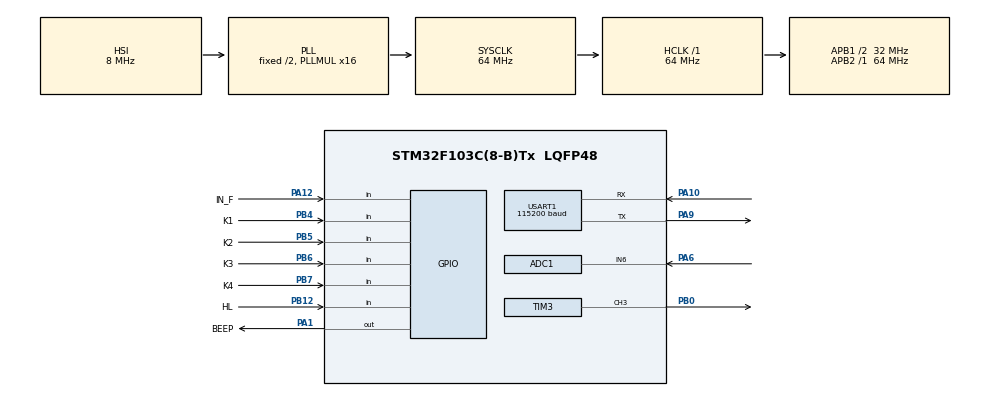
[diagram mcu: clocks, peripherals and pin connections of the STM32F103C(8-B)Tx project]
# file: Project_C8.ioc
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ADC1.Channel-0\#ChannelRegularConversion=ADC_CHANNEL_6
ADC1.NbrOfConversionFlag=1
ADC1.Rank-0\#ChannelRegularConversion=1
ADC1.SamplingTime-0\#ChannelRegularConversion=ADC_SAMPLETIME_239CYCLES_5
ADC1.master=1
Mcu.Family=STM32F1
Mcu.Name=STM32F103C(8-B)Tx
Mcu.Package=LQFP48
NVIC.PriorityGroup=NVIC_PRIORITYGROUP_4
NVIC.TIM1_UP_IRQn=true\:0\:0\:false\:false\:true\:true\:true\:true
NVIC.USART1_IRQn=true\:0\:0\:false\:false\:true\:true\:true\:true
PA1.GPIO_Label=BEEP
PA1.Signal=GPIO_Output
PA10.Mode=Asynchronous
PA10.Signal=USART1_RX
PA12.GPIO_Label=IN_F
PA12.GPIO_PuPd=GPIO_PULLUP
PA12.Signal=GPIO_Input
PA13.Mode=Serial_Wire
PA13.Signal=SYS_JTMS-SWDIO
PA14.Mode=Serial_Wire
PA14.Signal=SYS_JTCK-SWCLK
PA6.Signal=ADCx_IN6
PA9.Mode=Asynchronous
PA9.Signal=USART1_TX
PB0.Signal=S_TIM3_CH3
PB12.GPIO_Label=HL
PB12.Signal=GPIO_Input
PB4.GPIO_Label=K1
PB4.GPIO_PuPd=GPIO_PULLUP
PB4.Signal=GPIO_Input
PB5.GPIO_Label=K2
PB5.GPIO_PuPd=GPIO_PULLUP
PB5.Signal=GPIO_Input
PB6.GPIO_Label=K3
PB6.GPIO_PuPd=GPIO_PULLUP
PB6.Signal=GPIO_Input
PB7.GPIO_Label=K4
PB7.GPIO_PuPd=GPIO_PULLUP
PB7.Signal=GPIO_Input
ProjectManager.HeapSize=0x200
ProjectManager.StackSize=0x400
ProjectManager.TargetToolchain=MDK-ARM V5.27
RCC.ADCPresc=RCC_ADCPCLK2_DIV6
RCC.AHBFreq_Value=64000000
RCC.APB1CLKDivider=RCC_HCLK_DIV2
RCC.APB1Freq_Value=32000000
RCC.APB1TimFreq_Value=64000000
RCC.APB2Freq_Value=64000000
RCC.APB2TimFreq_Value=64000000
RCC.FLatency=FLASH_LATENCY_2
RCC.HCLKFreq_Value=64000000
RCC.PLLMUL=RCC_PLL_MUL16
RCC.SYSCLKFreq_VALUE=64000000
RCC.SYSCLKSource=RCC_SYSCLKSOURCE_PLLCLK
RCC.USBFreq_Value=64000000
SH.ADCx_IN6.0=ADC1_IN6,IN6
SH.S_TIM3_CH3.0=TIM3_CH3,PWM Generation3 CH3
TIM1.AutoReloadPreload=TIM_AUTORELOAD_PRELOAD_DISABLE
TIM1.ClockDivision=TIM_CLOCKDIVISION_DIV1
TIM1.CounterMode=TIM_COUNTERMODE_UP
TIM1.Period=999
TIM1.Prescaler=63
TIM1.RepetitionCounter=0
TIM1.TIM_MasterOutputTrigger=TIM_TRGO_RESET
TIM1.TIM_MasterSlaveMode=TIM_MASTERSLAVEMODE_DISABLE
TIM3.Channel-PWM\ Generation3\ CH3=TIM_CHANNEL_3
TIM3.Period=19999
TIM3.Prescaler=63
USART1.BaudRate=115200
USART1.Mode=MODE_TX_RX
USART1.Parity=PARITY_NONE
USART1.StopBits=STOPBITS_1
USART1.VirtualMode=VM_ASYNC
USART1.WordLength=WORDLENGTH_8B
VP_TIM1_VS_ClockSourceINT.Mode=Internal
VP_TIM3_VS_ClockSourceINT.Mode=Internal
board=custom

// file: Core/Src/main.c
/* USER CODE BEGIN Header */
/**
  ******************************************************************************
  * @file           : main.c
  * @brief          : Main program body
  ******************************************************************************
  * @attention
  *
  * Copyright (c) 2022 STMicroelectronics.
  * All rights reserved.
  *
  * This software is licensed under terms that can be found in the LICENSE file
  * in the root directory of this software component.
  * If no LICENSE file comes with this software, it is provided AS-IS.
  *
  ******************************************************************************
  */
/* USER CODE END Header */
#include "main.h"
#include "adc.h"
#include "tim.h"
#include "usart.h"
#include "gpio.h"

/* USER CODE BEGIN Includes */
#include "./HAL/key/key.h"
#include "./HAL/OLED/OLED_NEW.H"
#include "./HAL/ds18b20/ds18b20.h"
#include "./HAL/delay/delay.h"
#include "./HAL/Air724/Air724.h"

/* USER CODE END Includes */

/* USER CODE BEGIN PTD */
void Key_function(void);								//按键函数
void Monitor_function(void);						//监测函数
void Display_function(void);						//显示函数
void Manage_function(void);							//处理函数
/* USER CODE END PTD */

/* USER CODE BEGIN PD */

#define BEEP(a) (a?HAL_GPIO_WritePin(BEEP_GPIO_Port, BEEP_Pin, GPIO_PIN_SET):HAL_GPIO_WritePin(BEEP_GPIO_Port, BEEP_Pin, GPIO_PIN_RESET))

#define RELAY(a) (a?HAL_GPIO_WritePin(RELAY_GPIO_Port, RELAY_Pin, GPIO_PIN_SET):HAL_GPIO_WritePin(RELAY_GPIO_Port, RELAY_Pin, GPIO_PIN_RESET))

uint8_t USART1_TX_BUF[200];
#define u1_printf(...)  HAL_UART_Transmit(&huart1,USART1_TX_BUF,sprintf((char *)USART1_TX_BUF,__VA_ARGS__),0xffff)

/* USER CODE END PD */

/* USER CODE BEGIN PV */
uint8_t key_num,flag_display;         //按键与显示变量
uint16_t time_1ms,time_500ms;         //计时变量1ms,500ms
uint16_t time_ms,time_1000ms;         //计时变量1ms,1000ms

//串口1的数据获取
uint8_t uart1_value;      //串口传的单个数据
//串口的储存数组，串口的接收时间，串口存值的数量
uint8_t uart1_buf[36],uart1_time,uart1_num;
uint8_t uart1_rx_flag;//串口的获取值的标志位

uint16_t temp;																						                //温度
uint8_t display_buf[20];                                                  //显示温度数组
uint16_t temp_init;                                                       //温度中间变量
uint8_t door_flag;                                                        //车门状态标志位
uint8_t window_flag;                                                      //车窗状态标志位
uint8_t people_flag;                                                      //车内状态标志位
uint16_t adc_value,light_value;
uint16_t SG90_1=500;                                                      //舵机角度控制变量（500-2500 0-180°）
uint8_t alarm;
uint8_t temp_yu=35,CO2_yu=50;
/* USER CODE END PV */

void SystemClock_Config(void);

/* USER CODE BEGIN 0 */

/****
*******按键设置函数
*****/
void Key_function(void)
{
	key_num = Chiclet_Keyboard_Scan();	//按键扫描
	if(key_num != 0)										//有按键按下
	{
		switch(key_num)
		{
			case 1:													//按键1，切换模式
			flag_display++;
			if(flag_display>=3)
				flag_display=0;
			OLED_Clear();									//按一下，清屏一次
			break;

			case 2:													//按键2
			if(flag_display==1)
			{
				if(temp_yu<99)
					temp_yu++;
			}
			if(flag_display==2)
			{
				if(CO2_yu<99)
					CO2_yu++;
			}
			break;

			case 3:													//按键3
			if(flag_display==0)
				window_flag=1;
			if(flag_display==1)
			{
				if(temp_yu>1)
					temp_yu--;
			}
			if(flag_display==2)
			{
				if(CO2_yu>1)
					CO2_yu--;
			}
			break;

			case 4:													//按键4，切换模式
			window_flag=0;

			break;

			default:
			break;
		}
	}
}

/****
*******监测函数
*****/
void Monitor_function(void)
{
	if(time_500ms == 1)
	{
		time_500ms = 0;
		temp_init = DS18B20_Read_Temp_With_CRC();
		if(temp_init != 0x7FFF)
			temp = temp_init;			//获取温度
		 //单通道数据获取
		HAL_ADC_Start(&hadc1);
		if(HAL_ADC_PollForConversion(&hadc1, 999) == HAL_OK)
			adc_value = HAL_ADC_GetValue(&hadc1);
		HAL_ADC_Stop(&hadc1);
		light_value = (adc_value/4096.0)*100;			//获取二氧化碳值
	}
  if(time_1000ms == 1)
	{
		time_1000ms = 0;
    Ali_MQTT_Publish();
  }
}

/****
*******显示函数
*****/
void Display_function(void)
{
	switch(flag_display)								//根据不同的显示模式标志位，显示不同
	{
		case 0:
      Oled_ShowCHinese(0,0,(uint8_t *)"车门状态：");
      if(door_flag==0)
      {
        Oled_ShowCHinese(80,0,(uint8_t *)"关闭");
      }
      else
      {
        Oled_ShowCHinese(80,0,(uint8_t *)"开启");
      }
      Oled_ShowCHinese(0,2,(uint8_t *)"车窗状态：");
      if(window_flag==0)
      {
        Oled_ShowCHinese(80,2,(uint8_t *)"关闭");
      }
      else
      {
        Oled_ShowCHinese(80,2,(uint8_t *)"开启");
      }

      Oled_ShowCHinese(0,4,(uint8_t *)"车内状态：");
      if(people_flag==1)
      {
        Oled_ShowCHinese(80,4,(uint8_t *)"有人");
      }
      else
      {
        Oled_ShowCHinese(80,4,(uint8_t *)"无人");
      }
//      sprintf((char *)display_buf,"%.1f  ",temp/10.0);//显示温度
//      Oled_ShowString(80,6,display_buf);
		OLED_Show_Temp(80,6,temp);
      OLED_ShowNum(16,6,light_value,2);               //显示二氧化碳浓度
		break;

		case 1:
			Oled_ShowCHinese(16,1,(uint8_t *)"设置温度阈值");
			OLED_ShowNum(56,4,temp_yu,2);
		break;

		case 2:
			Oled_ShowCHinese(0,1,(uint8_t *)"设置二氧化碳阈值");
			OLED_ShowNum(56,4,CO2_yu,2);
		break;
	}
}

/****
*******处理函数
*****/
void Manage_function(void)
{
	if(HL==0)//车门开启
  {
    door_flag=1;
  }
  else
  {
    door_flag=0;
  }
  if(IN_F==1)//检测到有人
  {
    people_flag=1;

  }
  else
  {
      people_flag=0;
  }
  if(window_flag==1)
  {
    SG90_1=500+window_flag*1000;//打开窗户，舵机转动90度
  }
  if(window_flag==0)
  {
    SG90_1=500+window_flag*1000;//关闭窗户
  }
  if(temp>temp_yu*10||light_value>CO2_yu)//检测温度过高或者二氧化碳浓度过高蜂鸣器报警，5秒后自动开窗
  {
    alarm=1;
    BEEP(1);
//    HAL_Delay(5000);
    window_flag=1;
  }
  else
  {
    alarm=0;
    BEEP(0);
  }
}
/* USER CODE END 0 */

int main(void)
{

  /* MCU Configuration--------------------------------------------------------*/

  /* Reset of all peripherals, Initializes the Flash interface and the Systick. */
  HAL_Init();

  /* Configure the system clock */
  SystemClock_Config();

  /* Initialize all configured peripherals */
  MX_GPIO_Init();
  MX_TIM1_Init();
  MX_USART1_UART_Init();
  MX_TIM3_Init();
  MX_ADC1_Init();
  /* USER CODE BEGIN 2 */
  HAL_TIM_Base_Start_IT(&htim1);
  HAL_UART_Receive_IT(&Huart_4G, &uart4G_value, 1);
  HAL_TIM_PWM_Start(&htim3,TIM_CHANNEL_3);       //定时器3pwm初始化

  /* USER CODE END 2 */

  /* Infinite loop */
  /* USER CODE BEGIN WHILE */
  OLED_Init();
  OLED_Clear();
  Ds18b20_GPIO_Init();
  Air724_init();

  while (1)
  {
		Key_function();							//按键函数
		Monitor_function();					//监测函数
		Display_function();					//显示函数
		Manage_function();					//处理函数
		Ali_MQTT_Recevie();

    /* USER CODE END WHILE */

    /* USER CODE BEGIN 3 */
    __HAL_TIM_SET_COMPARE(&htim3,TIM_CHANNEL_3,SG90_1);    //舵机的角度控制

  }
  /* USER CODE END 3 */
}

void SystemClock_Config(void)
{
  RCC_OscInitTypeDef RCC_OscInitStruct = {0};
  RCC_ClkInitTypeDef RCC_ClkInitStruct = {0};
  RCC_PeriphCLKInitTypeDef PeriphClkInit = {0};

  /** Initializes the RCC Oscillators according to the specified parameters
  * in the RCC_OscInitTypeDef structure.
  */
  RCC_OscInitStruct.OscillatorType = RCC_OSCILLATORTYPE_HSI;
  RCC_OscInitStruct.HSIState = RCC_HSI_ON;
  RCC_OscInitStruct.HSICalibrationValue = RCC_HSICALIBRATION_DEFAULT;
  RCC_OscInitStruct.PLL.PLLState = RCC_PLL_ON;
  RCC_OscInitStruct.PLL.PLLSource = RCC_PLLSOURCE_HSI_DIV2;
  RCC_OscInitStruct.PLL.PLLMUL = RCC_PLL_MUL16;
  if (HAL_RCC_OscConfig(&RCC_OscInitStruct) != HAL_OK)
  {
    Error_Handler();
  }

  /** Initializes the CPU, AHB and APB buses clocks
  */
  RCC_ClkInitStruct.ClockType = RCC_CLOCKTYPE_HCLK|RCC_CLOCKTYPE_SYSCLK
                              |RCC_CLOCKTYPE_PCLK1|RCC_CLOCKTYPE_PCLK2;
  RCC_ClkInitStruct.SYSCLKSource = RCC_SYSCLKSOURCE_PLLCLK;
  RCC_ClkInitStruct.AHBCLKDivider = RCC_SYSCLK_DIV1;
  RCC_ClkInitStruct.APB1CLKDivider = RCC_HCLK_DIV2;
  RCC_ClkInitStruct.APB2CLKDivider = RCC_HCLK_DIV1;

  if (HAL_RCC_ClockConfig(&RCC_ClkInitStruct, FLASH_LATENCY_2) != HAL_OK)
  {
    Error_Handler();
  }
  PeriphClkInit.PeriphClockSelection = RCC_PERIPHCLK_ADC;
  PeriphClkInit.AdcClockSelection = RCC_ADCPCLK2_DIV6;
  if (HAL_RCCEx_PeriphCLKConfig(&PeriphClkInit) != HAL_OK)
  {
    Error_Handler();
  }
}

/* USER CODE BEGIN 4 */

void HAL_TIM_PeriodElapsedCallback(TIM_HandleTypeDef *htim)
{
	if(htim->Instance == htim1.Instance)		//定时器1触发中断
	{
		time_1ms++;
		if(time_1ms>= 500)
		{
			time_1ms= 0;
			time_500ms = 1;
		}

		time_ms++;
		if(time_ms>= 1000)
		{
			time_ms= 0;
			time_1000ms = 1;
		}

	}
}

void HAL_UART_RxCpltCallback(UART_HandleTypeDef *huart)
{
  if(huart->Instance == Huart_4G.Instance)//串口触发中断
	{
    if(huart->Instance == Huart_4G.Instance)//串口触发
    {
      HAL_UART_Receive_IT(&Huart_4G, &uart4G_value, 1);
      if(Air724_cnt >= sizeof(Air724_buf))	Air724_cnt = 0; //防止串口被刷爆
      Air724_buf[Air724_cnt++] = uart4G_value;
    }
	}

}
/* USER CODE END 4 */

void Error_Handler(void)
{
  __disable_irq();
  while (1)
  {
  }
}
